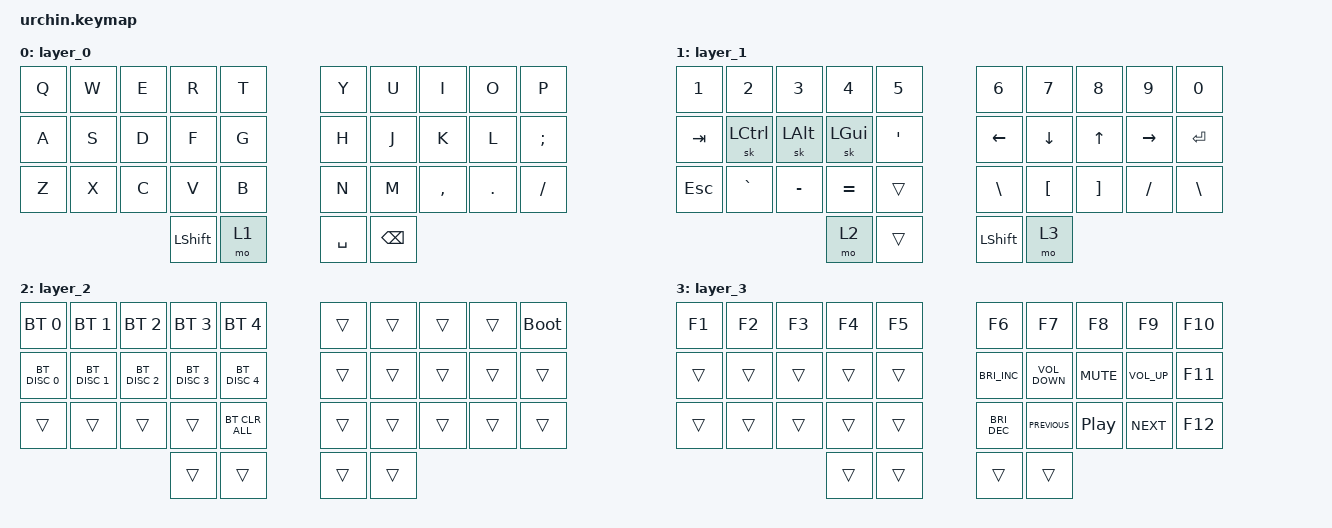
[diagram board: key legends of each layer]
#include <behaviors.dtsi>
#include <dt-bindings/zmk/bt.h>
#include <dt-bindings/zmk/keys.h>

/ {
    keymap {
        compatible = "zmk,keymap";

        layer_0 {
            bindings = <
&kp Q  &kp W  &kp E  &kp R      &kp T    &kp Y      &kp U     &kp I      &kp O    &kp P
&kp A  &kp S  &kp D  &kp F      &kp G    &kp H      &kp J     &kp K      &kp L    &kp SEMI
&kp Z  &kp X  &kp C  &kp V      &kp B    &kp N      &kp M     &kp COMMA  &kp DOT  &kp FSLH
                     &kp LSHFT  &mo 1    &kp SPACE  &kp BSPC
            >;
        };

        layer_1 {
            bindings = <
&kp N1   &kp N2     &kp N3     &kp N4     &kp N5      &kp N6     &kp N7    &kp N8    &kp N9     &kp N0
&kp TAB  &sk LCTRL  &sk LALT   &sk LGUI   &kp APOS    &kp LEFT   &kp DOWN  &kp UP    &kp RIGHT  &kp RET
&kp ESC  &kp GRAVE  &kp MINUS  &kp EQUAL  &trans      &kp BSLH   &kp LBKT  &kp RBKT  &kp FSLH   &kp BSLH
                               &mo 2      &trans      &kp LSHFT  &mo 3
            >;
        };

        layer_2 {
            bindings = <
&bt BT_SEL 0   &bt BT_SEL 1   &bt BT_SEL 2   &bt BT_SEL 3   &bt BT_SEL 4      &trans  &trans  &trans  &trans  &bootloader
&bt BT_DISC 0  &bt BT_DISC 1  &bt BT_DISC 2  &bt BT_DISC 3  &bt BT_DISC 4     &trans  &trans  &trans  &trans  &trans
&trans         &trans         &trans         &trans         &bt BT_CLR_ALL    &trans  &trans  &trans  &trans  &trans
                                             &trans         &trans            &trans  &trans
            >;
        };

        layer_3 {
            bindings = <
&kp F1  &kp F2  &kp F3  &kp F4  &kp F5    &kp F6                &kp F7             &kp F8            &kp F9           &kp F10
&trans  &trans  &trans  &trans  &trans    &kp C_BRIGHTNESS_INC  &kp C_VOLUME_DOWN  &kp K_MUTE        &kp C_VOLUME_UP  &kp F11
&trans  &trans  &trans  &trans  &trans    &kp C_BRIGHTNESS_DEC  &kp C_PREVIOUS     &kp C_PLAY_PAUSE  &kp C_NEXT       &kp F12
                        &trans  &trans    &trans                &trans
            >;
        };
    };
};
